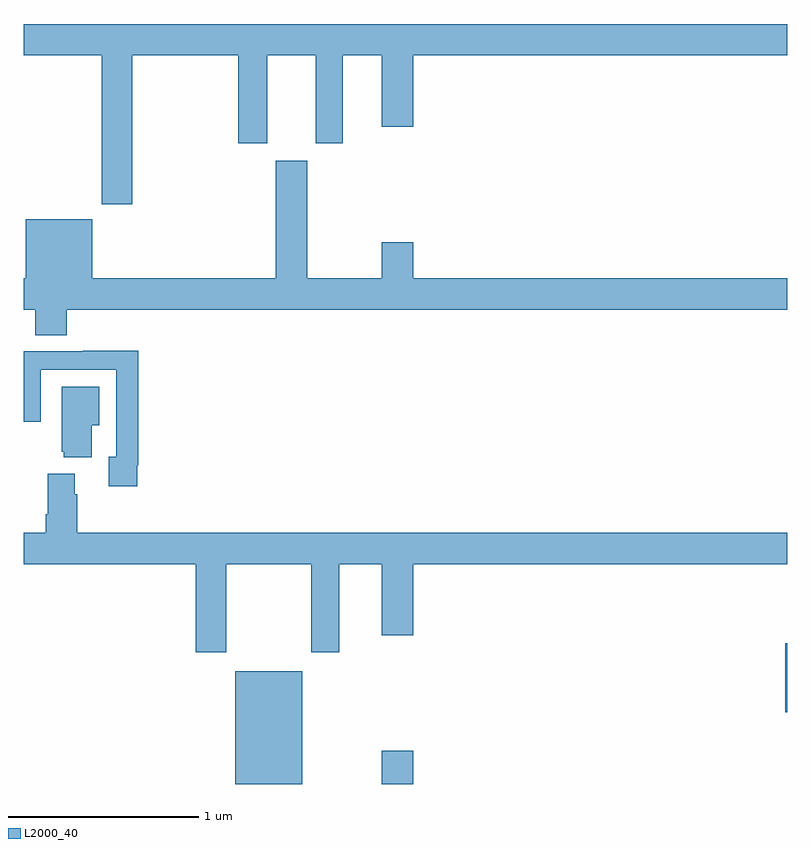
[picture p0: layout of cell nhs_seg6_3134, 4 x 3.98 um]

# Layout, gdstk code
import gdstk
lib = gdstk.Library(unit=1e-6, precision=1e-09)
def R(c, l, rs):  # rectangles x0, y0, x1, y1
    for r in rs: c.add(gdstk.rectangle(r[:2], r[2:], *l))
def P(c, l, *ps):  # polygons
    for p in ps: c.add(gdstk.Polygon(p, *l))
L2000_40 = (2000, 40)

nhs_seg6_3134 = lib.new_cell('nhs_seg6_3134')
R(nhs_seg6_3134, L2000_40, [(296.108,963.5,296.458,964.09), (296.876,963.5,297.04,963.673), (298.988,963.875,299,964.236)])
P(nhs_seg6_3134, L2000_40, [(295.568,967.316),(296.123,967.316),(296.123,966.855),(296.275,966.855),(296.275,967.316),(296.531,967.316),(296.531,966.855),(296.671,966.855),(296.671,967.316),(296.876,967.316),(296.876,966.942),(297.04,966.942),(297.04,967.316),(299,967.316),(299,967.48),(295,967.48),(295,967.316),(295.408,967.316),(295.408,966.537),(295.568,966.537)],
  [(295.226,965.984),(299,965.984),(299,966.148),(297.04,966.148),(297.04,966.337),(296.876,966.337),(296.876,966.148),(296.485,966.148),(296.485,966.763),(296.321,966.763),(296.321,966.148),(295.36,966.148),(295.36,966.457),(295.01,966.457),(295.01,966.148),(295,966.148),(295,965.984),(295.061,965.984),(295.061,965.851),(295.226,965.851)],
  [(295.594,965.17),(295.601,965.17),(295.601,965.768),(295.309,965.768),(295.309,965.766),(295,965.766),(295,965.397),(295.089,965.397),(295.089,965.67),(295.485,965.67),(295.485,965.214),(295.445,965.214),(295.445,965.058),(295.594,965.058)],
  [(295.357,965.378),(295.396,965.378),(295.396,965.581),(295.199,965.581),(295.199,965.241),(295.211,965.241),(295.211,965.21),(295.357,965.21)],
  [(296.061,964.652),(296.506,964.652),(296.506,964.191),(296.653,964.191),(296.653,964.652),(296.876,964.652),(296.876,964.278),(297.04,964.278),(297.04,964.652),(299,964.652),(299,964.816),(295.28,964.816),(295.28,965.018),(295.267,965.018),(295.267,965.125),(295.127,965.125),(295.127,964.912),(295.115,964.912),(295.115,964.816),(295,964.816),(295,964.652),(295.901,964.652),(295.901,964.191),(296.061,964.191)])

lib.write_gds('nhs_seg6_3134.gds')
